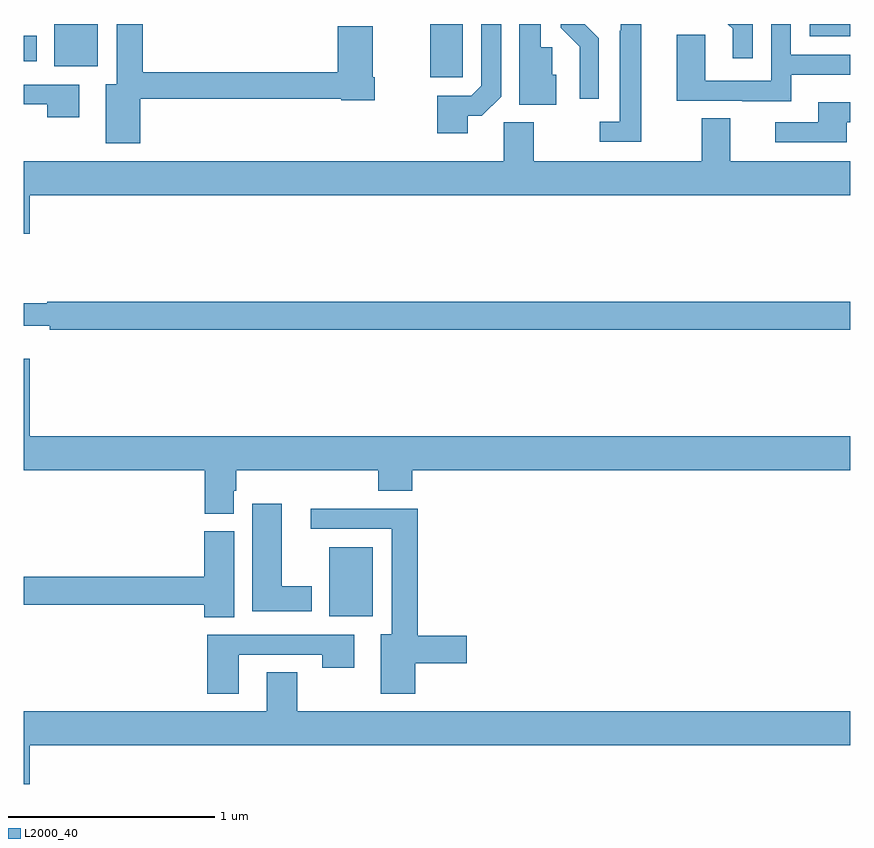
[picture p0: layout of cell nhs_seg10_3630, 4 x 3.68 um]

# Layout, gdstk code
import gdstk
lib = gdstk.Library(unit=1e-6, precision=1e-09)
def R(c, l, rs):  # rectangles x0, y0, x1, y1
    for r in rs: c.add(gdstk.rectangle(r[:2], r[2:], *l))
def P(c, l, *ps):  # polygons
    for p in ps: c.add(gdstk.Polygon(p, *l))
L2000_40 = (2000, 40)

nhs_seg10_3630 = lib.new_cell('nhs_seg10_3630')
R(nhs_seg10_3630, L2000_40, [(310.478,1275.632,310.69,1275.967), (310.967,1278.243,311.125,1278.5), (309.146,1278.296,309.358,1278.5), (309,1278.32,309.061,1278.442), (312.804,1278.44,313,1278.5)])
P(nhs_seg10_3630, L2000_40, [(312.528,1278.5),(312.408,1278.5),(312.431,1278.477),(312.431,1278.333),(312.528,1278.333)],
  [(311.578,1278.255),(311.559,1278.255),(311.559,1278.387),(311.503,1278.387),(311.503,1278.5),(311.399,1278.5),(311.399,1278.11),(311.578,1278.11)],
  [(311.784,1278.432),(311.716,1278.5),(311.598,1278.5),(311.598,1278.482),(311.69,1278.39),(311.69,1278.138),(311.784,1278.138)],
  [(311.149,1278.055),(311.217,1278.055),(311.31,1278.147),(311.31,1278.5),(311.214,1278.5),(311.214,1278.201),(311.166,1278.153),(311.002,1278.153),(311.002,1277.97),(311.149,1277.97)],
  [(312.715,1278.254),(313,1278.254),(313,1278.351),(312.714,1278.351),(312.714,1278.5),(312.618,1278.5),(312.618,1278.225),(312.3,1278.225),(312.3,1278.449),(312.161,1278.449),(312.161,1278.129),(312.479,1278.129),(312.479,1278.125),(312.715,1278.125)],
  [(311.989,1278.5),(311.889,1278.5),(311.889,1278.467),(311.885,1278.467),(311.885,1278.027),(311.787,1278.027),(311.787,1277.931),(311.989,1277.931)],
  [(309.562,1278.138),(310.536,1278.138),(310.536,1278.13),(310.698,1278.13),(310.698,1278.241),(310.69,1278.241),(310.69,1278.49),(310.52,1278.49),(310.52,1278.266),(309.575,1278.266),(309.575,1278.5),(309.449,1278.5),(309.449,1278.208),(309.395,1278.208),(309.395,1277.922),(309.562,1277.922)],
  [(309.268,1278.207),(309,1278.207),(309,1278.111),(309.112,1278.111),(309.112,1278.048),(309.268,1278.048)],
  [(312.985,1278.024),(313,1278.024),(313,1278.121),(312.845,1278.121),(312.845,1278.024),(312.639,1278.024),(312.639,1277.928),(312.985,1277.928)],
  [(309.028,1277.672),(313,1277.672),(313,1277.836),(312.421,1277.836),(312.421,1278.044),(312.281,1278.044),(312.281,1277.836),(311.469,1277.836),(311.469,1278.025),(311.322,1278.025),(311.322,1277.836),(309,1277.836),(309,1277.484),(309.028,1277.484)],
  [(313,1277.156),(309.113,1277.156),(309.113,1277.149),(309,1277.149),(309,1277.039),(309.124,1277.039),(309.124,1277.02),(313,1277.02)],
  [(310.015,1276.239),(310.028,1276.239),(310.028,1276.34),(310.715,1276.34),(310.715,1276.241),(310.88,1276.241),(310.88,1276.34),(313,1276.34),(313,1276.504),(309.028,1276.504),(309.028,1276.879),(309,1276.879),(309,1276.34),(309.875,1276.34),(309.875,1276.129),(310.015,1276.129)],
  [(310.393,1275.778),(310.249,1275.778),(310.249,1276.177),(310.106,1276.177),(310.106,1275.656),(310.393,1275.656)],
  [(310.894,1275.404),(311.143,1275.404),(311.143,1275.539),(310.907,1275.539),(310.907,1276.154),(310.389,1276.154),(310.389,1276.056),(310.781,1276.056),(310.781,1275.544),(310.727,1275.544),(310.727,1275.258),(310.894,1275.258)],
  [(310.018,1276.044),(309.872,1276.044),(309.872,1275.824),(309,1275.824),(309,1275.688),(309.872,1275.688),(309.872,1275.628),(310.018,1275.628)],
  [(310.039,1275.447),(310.444,1275.447),(310.444,1275.384),(310.6,1275.384),(310.6,1275.543),(309.887,1275.543),(309.887,1275.258),(310.039,1275.258)],
  [(309.028,1275.008),(313,1275.008),(313,1275.172),(310.323,1275.172),(310.323,1275.362),(310.175,1275.362),(310.175,1275.172),(309,1275.172),(309,1274.82),(309.028,1274.82)])

lib.write_gds('nhs_seg10_3630.gds')
